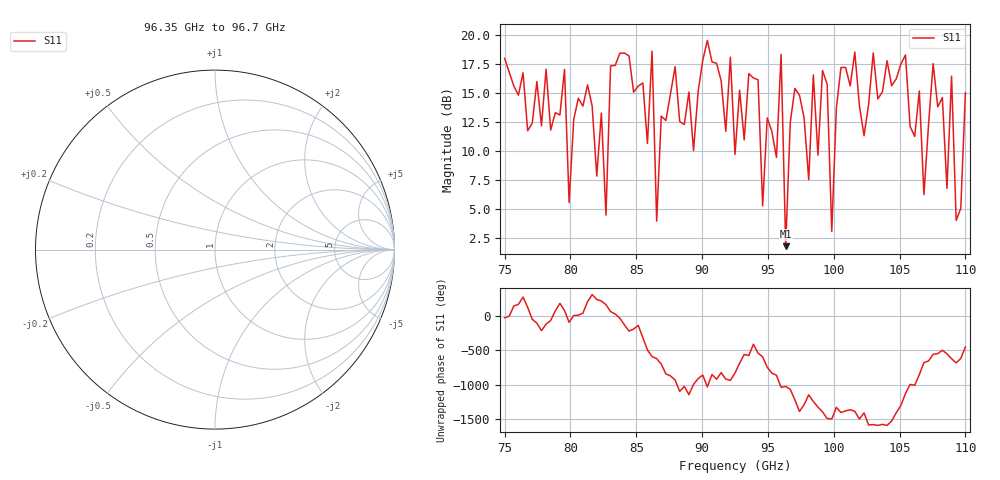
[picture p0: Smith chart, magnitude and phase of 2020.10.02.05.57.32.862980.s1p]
!Created with skrf (http://scikit-rf.org).
# GHz S RI R 50.0
!freq ReS11 ImS11
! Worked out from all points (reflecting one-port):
!   101 points, 75 GHz to 110 GHz, reference 50 ohm
!   lowest |S11| = 1.8 dB at 96.35 GHz (marker M1)
!   phase of S11 starts at -33 deg and turns -423 deg over the sweep
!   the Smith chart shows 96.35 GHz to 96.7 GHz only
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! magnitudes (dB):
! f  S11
! 75 GHz  18.0
! 79.55 GHz  17.1
! 79.9 GHz  5.6
! 81.3 GHz  15.7
! 82.7 GHz  4.5
! 83.05 GHz  17.4
! 83.75 GHz  18.5
! 86.2 GHz  18.6
! 86.55 GHz  4.0
! 88.3 GHz  12.6
! 90.4 GHz  19.6
! 92.5 GHz  9.7
! 94.25 GHz  16.2
! 94.6 GHz  5.3
! 96 GHz  18.4
! 96.35 GHz  1.8
! 97.05 GHz  15.4
! 98.1 GHz  7.5
! 99.5 GHz  15.8
! 99.85 GHz  3.1
! 101.2 GHz  15.6
! 105.8 GHz  12.1
! 106.8 GHz  6.3
! 107.5 GHz  17.6
! 108.6 GHz  6.8
! 109 GHz  16.5
! 109.3 GHz  4.0
! 110 GHz  15.0
